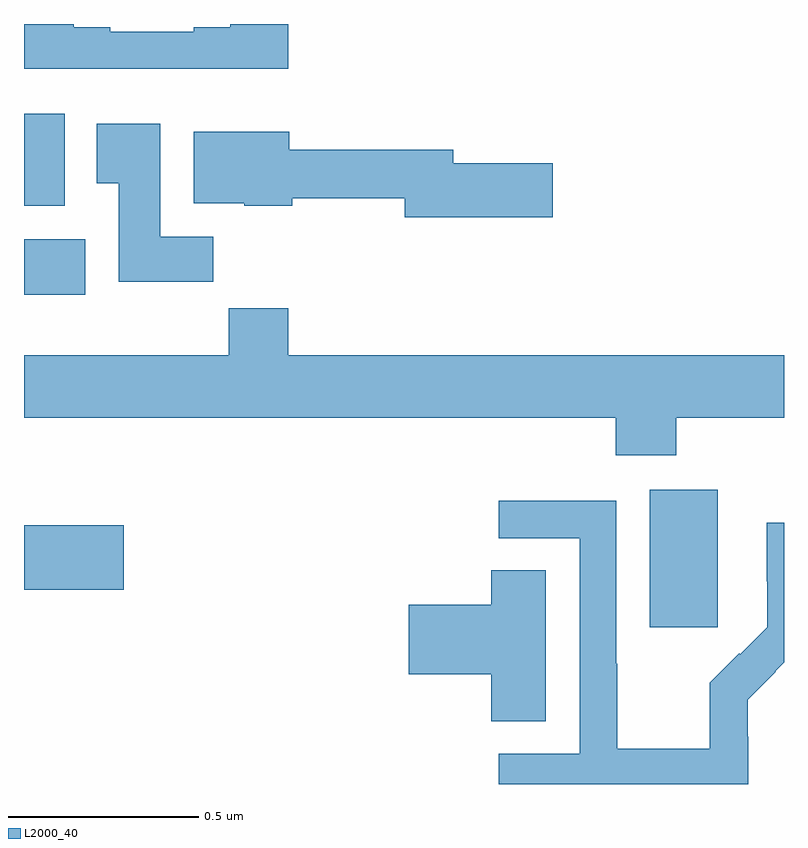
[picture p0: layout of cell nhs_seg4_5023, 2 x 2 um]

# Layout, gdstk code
import gdstk
lib = gdstk.Library(unit=1e-6, precision=1e-09)
def R(c, l, rs):  # rectangles x0, y0, x1, y1
    for r in rs: c.add(gdstk.rectangle(r[:2], r[2:], *l))
def P(c, l, *ps):  # polygons
    for p in ps: c.add(gdstk.Polygon(p, *l))
L2000_40 = (2000, 40)

nhs_seg4_5023 = lib.new_cell('nhs_seg4_5023')
R(nhs_seg4_5023, L2000_40, [(174.647,752.313,174.826,752.674), (173,752.411,173.263,752.581), (173,753.188,173.161,753.334), (173,753.422,173.107,753.664)])
P(nhs_seg4_5023, L2000_40, [(173.696,753.9),(173.543,753.9),(173.543,753.892),(173.447,753.892),(173.447,753.879),(173.227,753.879),(173.227,753.892),(173.131,753.892),(173.131,753.9),(173,753.9),(173,753.782),(173.696,753.782)],
  [(173.498,753.34),(173.359,753.34),(173.359,753.637),(173.192,753.637),(173.192,753.481),(173.249,753.481),(173.249,753.222),(173.498,753.222)],
  [(174.391,753.533),(174.13,753.533),(174.13,753.569),(173.698,753.569),(173.698,753.616),(173.447,753.616),(173.447,753.428),(173.58,753.428),(173.58,753.422),(173.706,753.422),(173.706,753.441),(174.002,753.441),(174.002,753.391),(174.391,753.391)],
  [(174.717,752.864),(175,752.864),(175,753.028),(173.696,753.028),(173.696,753.152),(173.539,753.152),(173.539,753.028),(173,753.028),(173,752.864),(174.557,752.864),(174.557,752.765),(174.717,752.765)],
  [(174.906,752.025),(174.904,752.025),(174.904,752.122),(174.978,752.196),(174.977,752.197),(175,752.22),(175,752.588),(174.954,752.588),(174.954,752.434),(174.956,752.434),(174.956,752.312),(174.885,752.241),(174.882,752.244),(174.805,752.167),(174.805,751.993),(174.561,751.993),(174.561,752.216),(174.558,752.216),(174.558,752.646),(174.249,752.646),(174.249,752.547),(174.462,752.547),(174.462,751.98),(174.249,751.98),(174.249,751.9),(174.906,751.9)],
  [(174.373,752.462),(174.23,752.462),(174.23,752.372),(174.012,752.372),(174.012,752.189),(174.23,752.189),(174.23,752.065),(174.373,752.065)])

lib.write_gds('nhs_seg4_5023.gds')
